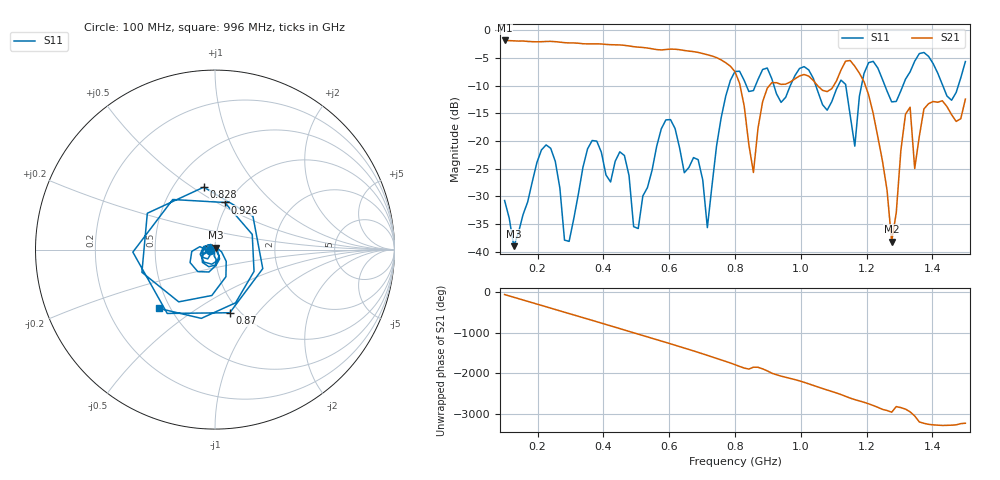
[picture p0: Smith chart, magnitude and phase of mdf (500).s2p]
! NanoVNA-App
! Date: 2025-09-25 15:42:18
! Start: 100MHz Stop: 1,5GHz Points: 101
! S-Parameter data: F S11 S21 S12 S22
# Hz S RI R 50
!  Frequency  S11_Real  S11_Imag  S21_Real  S21_Imag  S12_Real  S12_Imag  S22_Real  S22_Imag
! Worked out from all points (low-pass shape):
!   101 points, 100 MHz to 1.5 GHz, reference 50 ohm
!   highest |S21| = -1.80 dB at 100 MHz (marker M1); lowest = -38.1 dB at 1.276 GHz (marker M2)
!   |S21| within 3 dB of the highest: start of sweep to 739.3 MHz
!   lowest |S11| = -39.0 dB at 128 MHz (marker M3), VSWR 1.02, Z = 50.3 + j1.08 ohm
!   |S11| at or under -10 dB: start of sweep to 781.1 MHz; 1.046 GHz to 1.113 GHz (67.6 MHz wide, 6.26 % of centre); 1.256 GHz to 1.31 GHz (54.3 MHz wide, 4.23 % of centre) (the widest 3 of 7)
!   S12 and S22 are empty: the file has one direction only
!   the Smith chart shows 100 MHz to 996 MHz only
!   S11 on the Smith chart (normalised r, x): 100 MHz: 0.94, -0.01; 828 MHz: 0.70, +0.56; 870 MHz: 0.90, -0.73; 926 MHz: 0.96, +0.55; 996 MHz: 0.43, -0.36
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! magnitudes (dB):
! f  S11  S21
! 100 MHz  -30.7  -1.8
! 128 MHz  -39.0  -1.9
! 212 MHz  -21.6  -2.0
! 282 MHz  -37.9  -2.2
! 338 MHz  -24.7  -2.4
! 464 MHz  -22.6  -2.7
! 506 MHz  -35.8  -3.0
! 576 MHz  -17.8  -3.5
! 716 MHz  -35.6  -4.4
! 800 MHz  -7.4  -7.5
! 828 MHz  -9.0  -13.7
! 856 MHz  -10.9  -25.7
! 870 MHz  -8.8  -17.6
! 926 MHz  -11.4  -9.4
! 996 MHz  -6.9  -8.2
! 1.038 GHz  -8.7  -9.0
! 1.164 GHz  -20.9  -6.5
! 1.192 GHz  -7.8  -9.3
! 1.276 GHz  -12.9  -38.1
! 1.318 GHz  -8.8  -15.1
! 1.346 GHz  -5.6  -24.9
! 1.5 GHz  -5.6  -12.4
